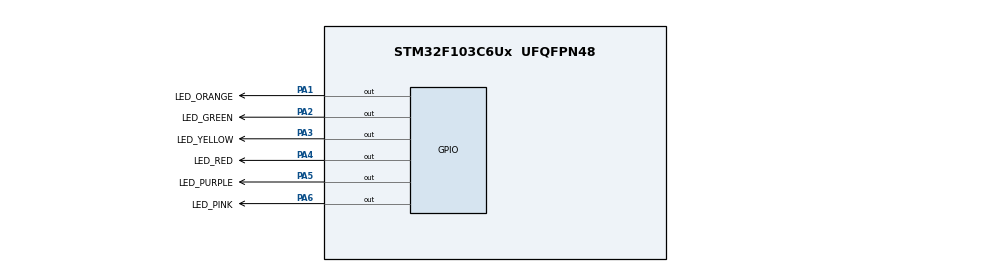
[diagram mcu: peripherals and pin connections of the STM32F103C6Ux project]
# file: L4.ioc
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Mcu.Family=STM32F1
Mcu.Name=STM32F103C6Ux
Mcu.Package=UFQFPN48
NVIC.PriorityGroup=NVIC_PRIORITYGROUP_4
NVIC.TIM2_IRQn=true\:0\:0\:false\:false\:true\:true\:true
PA1.GPIO_Label=LED_ORANGE
PA1.Signal=GPIO_Output
PA2.GPIO_Label=LED_GREEN
PA2.Signal=GPIO_Output
PA3.GPIO_Label=LED_YELLOW
PA3.Signal=GPIO_Output
PA4.GPIO_Label=LED_RED
PA4.Signal=GPIO_Output
PA5.GPIO_Label=LED_PURPLE
PA5.Signal=GPIO_Output
PA6.GPIO_Label=LED_PINK
PA6.Signal=GPIO_Output
ProjectManager.HeapSize=0x200
ProjectManager.StackSize=0x400
ProjectManager.TargetToolchain=STM32CubeIDE
RCC.APB1Freq_Value=8000000
RCC.APB2Freq_Value=8000000
TIM2.Period=9
TIM2.Prescaler=7999
VP_SYS_VS_ND.Mode=No_Debug
VP_TIM2_VS_ClockSourceINT.Mode=Internal
board=custom

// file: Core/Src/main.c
/* USER CODE BEGIN Header */
/**
  ******************************************************************************
  * @file           : main.c
  * @brief          : Main program body
  ******************************************************************************
  * @attention
  *
  * <h2><center>&copy; Copyright (c) 2023 STMicroelectronics.
  * All rights reserved.</center></h2>
  *
  * This software component is licensed by ST under BSD 3-Clause license,
  * the "License"; You may not use this file except in compliance with the
  * License. You may obtain a copy of the License at:
  *                        opensource.org/licenses/BSD-3-Clause
  *
  ******************************************************************************
  */
/* USER CODE END Header */
#include "main.h"

/* USER CODE BEGIN Includes */
#include "cooperative scheduler.h"
/* USER CODE END Includes */

TIM_HandleTypeDef htim2;

void SystemClock_Config(void);
static void MX_GPIO_Init(void);
static void MX_TIM2_Init(void);
/* USER CODE BEGIN PFP */
void displayRED(void);
void displayGREEN(void);
void displayYELLOW(void);
void displayPURPLE(void);
void displayORANGE(void);
void displayPINK(void);
/* USER CODE END PFP */

int main(void)
{

  /* MCU Configuration--------------------------------------------------------*/

  /* Reset of all peripherals, Initializes the Flash interface and the Systick. */
  HAL_Init();

  /* Configure the system clock */
  SystemClock_Config();

  /* Initialize all configured peripherals */
  MX_GPIO_Init();
  MX_TIM2_Init();
  /* USER CODE BEGIN 2 */
  HAL_TIM_Base_Start_IT(&htim2);
  /* USER CODE END 2 */

  /* Infinite loop */
  /* USER CODE BEGIN WHILE */
  HAL_GPIO_WritePin(GPIOA, LED_GREEN_Pin | LED_ORANGE_Pin | LED_PINK_Pin | 				// tắt hết các LED, chờ 1 giây sau
		  	  	  	  LED_PURPLE_Pin | LED_RED_Pin | LED_YELLOW_Pin, GPIO_PIN_SET);		// tất cả các LED cùng sáng (các tác vụ cùng thực hiện lần đầu)

  SCH_Add_Task(displayORANGE, 100, 50);
  SCH_Add_Task(displayGREEN, 100, 100);
  SCH_Add_Task(displayYELLOW, 100, 150);
  SCH_Add_Task(displayRED, 100, 200);
  SCH_Add_Task(displayPURPLE, 100, 250);
  SCH_Add_Task(displayPINK, 100, 0);

  while (1)
  {
    /* USER CODE END WHILE */
	  SCH_Dispatch_Tasks();
  }
}

void SystemClock_Config(void)
{
  RCC_OscInitTypeDef RCC_OscInitStruct = {0};
  RCC_ClkInitTypeDef RCC_ClkInitStruct = {0};

  /** Initializes the RCC Oscillators according to the specified parameters
  * in the RCC_OscInitTypeDef structure.
  */
  RCC_OscInitStruct.OscillatorType = RCC_OSCILLATORTYPE_HSI;
  RCC_OscInitStruct.HSIState = RCC_HSI_ON;
  RCC_OscInitStruct.HSICalibrationValue = RCC_HSICALIBRATION_DEFAULT;
  RCC_OscInitStruct.PLL.PLLState = RCC_PLL_NONE;
  if (HAL_RCC_OscConfig(&RCC_OscInitStruct) != HAL_OK)
  {
    Error_Handler();
  }
  /** Initializes the CPU, AHB and APB buses clocks
  */
  RCC_ClkInitStruct.ClockType = RCC_CLOCKTYPE_HCLK|RCC_CLOCKTYPE_SYSCLK
                              |RCC_CLOCKTYPE_PCLK1|RCC_CLOCKTYPE_PCLK2;
  RCC_ClkInitStruct.SYSCLKSource = RCC_SYSCLKSOURCE_HSI;
  RCC_ClkInitStruct.AHBCLKDivider = RCC_SYSCLK_DIV1;
  RCC_ClkInitStruct.APB1CLKDivider = RCC_HCLK_DIV1;
  RCC_ClkInitStruct.APB2CLKDivider = RCC_HCLK_DIV1;

  if (HAL_RCC_ClockConfig(&RCC_ClkInitStruct, FLASH_LATENCY_0) != HAL_OK)
  {
    Error_Handler();
  }
}

static void MX_TIM2_Init(void)
{

  TIM_ClockConfigTypeDef sClockSourceConfig = {0};
  TIM_MasterConfigTypeDef sMasterConfig = {0};

  htim2.Instance = TIM2;
  htim2.Init.Prescaler = 7999;
  htim2.Init.CounterMode = TIM_COUNTERMODE_UP;
  htim2.Init.Period = 9;
  htim2.Init.ClockDivision = TIM_CLOCKDIVISION_DIV1;
  htim2.Init.AutoReloadPreload = TIM_AUTORELOAD_PRELOAD_DISABLE;
  if (HAL_TIM_Base_Init(&htim2) != HAL_OK)
  {
    Error_Handler();
  }
  sClockSourceConfig.ClockSource = TIM_CLOCKSOURCE_INTERNAL;
  if (HAL_TIM_ConfigClockSource(&htim2, &sClockSourceConfig) != HAL_OK)
  {
    Error_Handler();
  }
  sMasterConfig.MasterOutputTrigger = TIM_TRGO_RESET;
  sMasterConfig.MasterSlaveMode = TIM_MASTERSLAVEMODE_DISABLE;
  if (HAL_TIMEx_MasterConfigSynchronization(&htim2, &sMasterConfig) != HAL_OK)
  {
    Error_Handler();
  }

}

static void MX_GPIO_Init(void)
{
  GPIO_InitTypeDef GPIO_InitStruct = {0};

  /* GPIO Ports Clock Enable */
  __HAL_RCC_GPIOA_CLK_ENABLE();

  /*Configure GPIO pin Output Level */
  HAL_GPIO_WritePin(GPIOA, LED_ORANGE_Pin|LED_GREEN_Pin|LED_YELLOW_Pin|LED_RED_Pin
                          |LED_PURPLE_Pin|LED_PINK_Pin, GPIO_PIN_RESET);

  /*Configure GPIO pins : LED_ORANGE_Pin LED_GREEN_Pin LED_YELLOW_Pin LED_RED_Pin
                           LED_PURPLE_Pin LED_PINK_Pin */
  GPIO_InitStruct.Pin = LED_ORANGE_Pin|LED_GREEN_Pin|LED_YELLOW_Pin|LED_RED_Pin
                          |LED_PURPLE_Pin|LED_PINK_Pin;
  GPIO_InitStruct.Mode = GPIO_MODE_OUTPUT_PP;
  GPIO_InitStruct.Pull = GPIO_NOPULL;
  GPIO_InitStruct.Speed = GPIO_SPEED_FREQ_LOW;
  HAL_GPIO_Init(GPIOA, &GPIO_InitStruct);

}

/* USER CODE BEGIN 4 */
void displayRED(){
	HAL_GPIO_TogglePin(GPIOA, LED_RED_Pin);
}
void displayGREEN(){
	HAL_GPIO_TogglePin(GPIOA, LED_GREEN_Pin);
}
void displayYELLOW(){
	HAL_GPIO_TogglePin(GPIOA, LED_YELLOW_Pin);
}
void displayPURPLE(){
	HAL_GPIO_TogglePin(GPIOA, LED_PURPLE_Pin);
}
void displayORANGE(){
	HAL_GPIO_TogglePin(GPIOA, LED_ORANGE_Pin);
}
void displayPINK(){
	HAL_GPIO_TogglePin(GPIOA, LED_PINK_Pin);
}

void HAL_TIM_PeriodElapsedCallback(TIM_HandleTypeDef *htim2){
	SCH_Update();
}
/* USER CODE END 4 */

void Error_Handler(void)
{
  __disable_irq();
  while (1)
  {
  }
}

/************************ (C) COPYRIGHT STMicroelectronics *****END OF FILE****/
